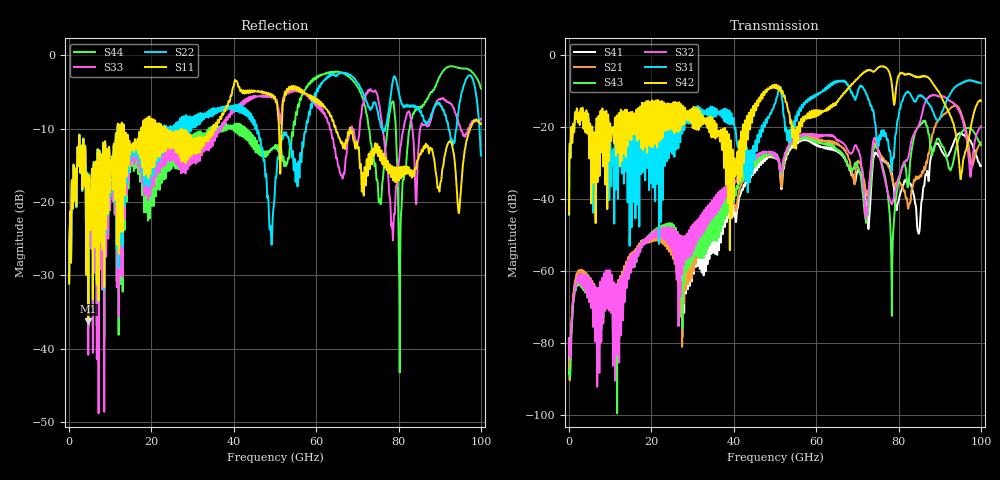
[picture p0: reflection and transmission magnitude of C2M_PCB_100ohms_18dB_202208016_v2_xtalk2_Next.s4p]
! Info: Touchstone file created by Circ.  Input file=Intel_C2M_200G_6p0in_202208016_staggered.circ
# Hz S RI R 50
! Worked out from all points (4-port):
!   10000 points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, 10 MHz to 100 GHz, reference 50 ohm
!   strongest paths, dB at 10 MHz, 25.01 GHz, 50.01 GHz, 75.01 GHz, 100 GHz:
!     S42: -44.2, -16.8, -9.0, -3.5, -12.7
!     S31: -44.4, -19.3, -13.5, -24.1, -7.7
!     S32: -83.4, -48.0, -27.2, -26.1, -19.8
!     S43: -87.7, -46.9, -27.2, -26.9, -25.0
!     S21: -84.7, -49.4, -27.4, -26.1, -24.3
!     S41: -86.9, -48.4, -27.6, -27.9, -30.7
!   lowest |S11| = -36.3 dB at 4.67 GHz (marker M1), VSWR 1.03, Z = 50.2 - j1.53 ohm
!   |S11| at or under -10 dB: start of sweep to 11.77 GHz; 23.31 GHz to 34.57 GHz (11.26 GHz wide, 38.9 % of centre); 68.3 GHz to 97.34 GHz (29.03 GHz wide, 35.1 % of centre)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
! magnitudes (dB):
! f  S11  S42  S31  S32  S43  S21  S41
! 10 MHz  -31.1  -44.2  -44.4  -83.4  -87.7  -84.7  -86.9
! 4.67 GHz  -36.3  -16.4  -17.6  -61.8  -64.5  -61.2  -63.3
! 56.33 GHz  -4.9  -17.7  -14.9  -22.2  -22.8  -22.3  -23.1
! 74.57 GHz  -13.3  -4.0  -21.9  -24.0  -25.6  -24.9  -27.4
! 78.42 GHz  -15.1  -8.4  -30.9  -41.4  -65.2  -33.8  -33.0
! 85.07 GHz  -13.5  -6.1  -11.3  -18.9  -19.4  -34.1  -49.0
! 100 GHz  -9.4  -12.7  -7.7  -19.8  -25.0  -24.3  -30.7
